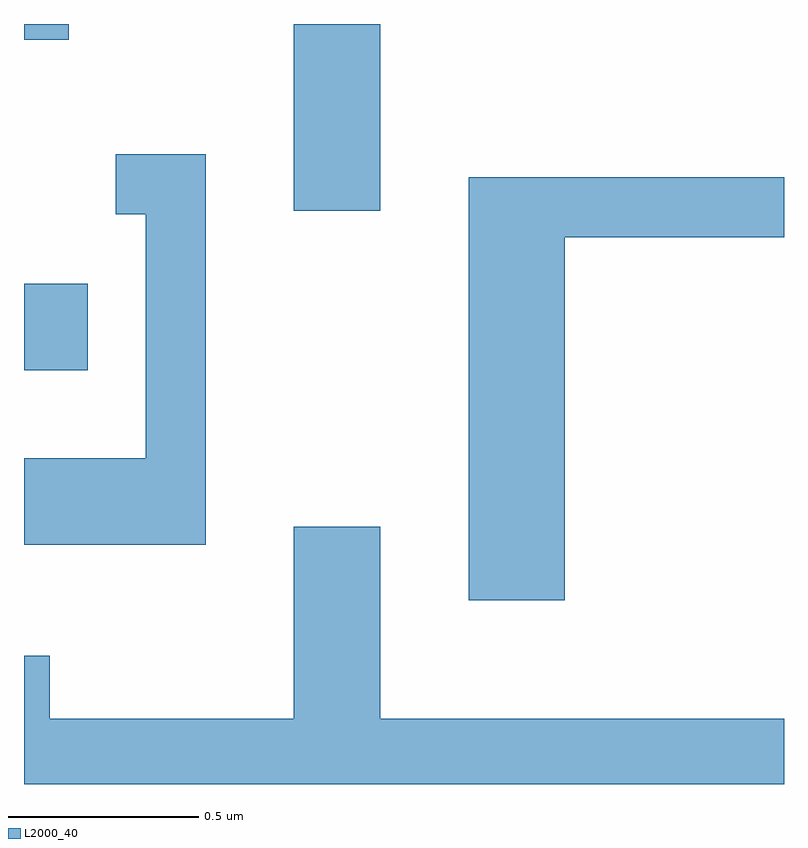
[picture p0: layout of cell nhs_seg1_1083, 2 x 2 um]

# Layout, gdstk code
import gdstk
lib = gdstk.Library(unit=1e-6, precision=1e-09)
def R(c, l, rs):  # rectangles x0, y0, x1, y1
    for r in rs: c.add(gdstk.rectangle(r[:2], r[2:], *l))
def P(c, l, *ps):  # polygons
    for p in ps: c.add(gdstk.Polygon(p, *l))
L2000_40 = (2000, 40)

nhs_seg1_1083 = lib.new_cell('nhs_seg1_1083')
R(nhs_seg1_1083, L2000_40, [(192.611,971.801,192.779,972.029), (193.321,972.221,193.549,972.712), (192.611,972.671,192.729,972.712)])
P(nhs_seg1_1083, L2000_40, [(193.089,972.369),(192.853,972.369),(192.853,972.211),(192.931,972.211),(192.931,971.569),(192.611,971.569),(192.611,971.341),(193.089,971.341)],
  [(194.034,972.151),(194.611,972.151),(194.611,972.309),(193.781,972.309),(193.781,971.196),(194.034,971.196)],
  [(194.611,970.884),(193.549,970.884),(193.549,971.389),(193.321,971.389),(193.321,970.884),(192.679,970.884),(192.679,971.049),(192.611,971.049),(192.611,970.712),(194.611,970.712)])

lib.write_gds('nhs_seg1_1083.gds')
